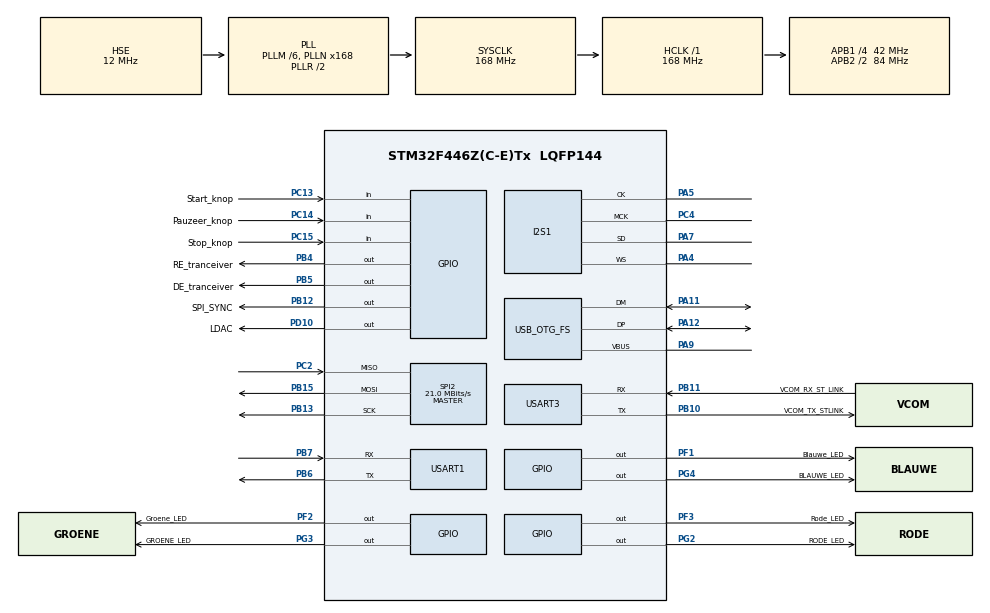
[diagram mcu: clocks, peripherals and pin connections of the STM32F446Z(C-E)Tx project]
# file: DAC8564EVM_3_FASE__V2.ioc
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I2S1.ErrorAudioFreq=1.72 %
I2S1.FullDuplexMode=I2S_FULLDUPLEXMODE_DISABLE
I2S1.Instance=SPI$Index
I2S1.RealAudioFreq=8.138 KHz
I2S1.VirtualMode=I2S_MODE_MASTER
Mcu.Family=STM32F4
Mcu.Name=STM32F446Z(C-E)Tx
Mcu.Package=LQFP144
NVIC.OTG_FS_IRQn=true\:0\:0\:false\:false\:true\:false\:true\:true
NVIC.PriorityGroup=NVIC_PRIORITYGROUP_4
NVIC.TIM2_IRQn=true\:0\:0\:false\:false\:true\:true\:true\:true
PA11.Mode=Device_Only
PA11.Signal=USB_OTG_FS_DM
PA12.Mode=Device_Only
PA12.Signal=USB_OTG_FS_DP
PA13.Mode=Serial_Wire
PA13.Signal=SYS_JTMS-SWDIO
PA14.Mode=Serial_Wire
PA14.Signal=SYS_JTCK-SWCLK
PA4.Mode=Half_Duplex_Master
PA4.Signal=I2S1_WS
PA5.Mode=Half_Duplex_Master
PA5.Signal=I2S1_CK
PA7.Mode=Half_Duplex_Master
PA7.Signal=I2S1_SD
PA9.Mode=Activate_VBUS
PA9.Signal=USB_OTG_FS_VBUS
PB10.GPIO_Label=VCOM_TX_STLINK
PB10.Mode=Asynchronous
PB10.Signal=USART3_TX
PB11.GPIO_Label=VCOM_RX_ST_LINK
PB11.Mode=Asynchronous
PB11.Signal=USART3_RX
PB12.GPIO_Label=SPI_SYNC
PB12.Signal=GPIO_Output
PB13.Mode=Full_Duplex_Master
PB13.Signal=SPI2_SCK
PB15.Mode=Full_Duplex_Master
PB15.Signal=SPI2_MOSI
PB4.GPIO_Label=RE_tranceiver
PB4.Signal=GPIO_Output
PB5.GPIO_Label=DE_tranceiver
PB5.Signal=GPIO_Output
PB6.Mode=Asynchronous
PB6.Signal=USART1_TX
PB7.Mode=Asynchronous
PB7.Signal=USART1_RX
PC13.GPIO_Label=Start_knop
PC13.GPIO_PuPd=GPIO_PULLUP
PC13.Signal=GPIO_Input
PC14-OSC32_IN.GPIO_Label=Pauzeer_knop
PC14-OSC32_IN.GPIO_PuPd=GPIO_PULLUP
PC14-OSC32_IN.Signal=GPIO_Input
PC15-OSC32_OUT.GPIO_Label=Stop_knop
PC15-OSC32_OUT.GPIO_PuPd=GPIO_PULLUP
PC15-OSC32_OUT.Signal=GPIO_Input
PC2.Mode=Full_Duplex_Master
PC2.Signal=SPI2_MISO
PC4.Mode=Master_Clock_Activated
PC4.Signal=I2S1_MCK
PD10.GPIO_Label=LDAC
PD10.Signal=GPIO_Output
PF1.GPIO_Label=Blauwe_LED
PF1.Signal=GPIO_Output
PF2.GPIO_Label=Groene_LED
PF2.Signal=GPIO_Output
PF3.GPIO_Label=Rode_LED
PF3.Signal=GPIO_Output
PG2.GPIO_Label=RODE_LED
PG2.Signal=GPIO_Output
PG3.GPIO_Label=GROENE_LED
PG3.Signal=GPIO_Output
PG4.GPIO_Label=BLAUWE_LED
PG4.Signal=GPIO_Output
PH0-OSC_IN.Mode=HSE-External-Oscillator
PH0-OSC_IN.Signal=RCC_OSC_IN
PH1-OSC_OUT.Mode=HSE-External-Oscillator
PH1-OSC_OUT.Signal=RCC_OSC_OUT
ProjectManager.HeapSize=0x200
ProjectManager.StackSize=0x400
ProjectManager.TargetToolchain=STM32CubeIDE
RCC.AHBFreq_Value=168000000
RCC.APB1CLKDivider=RCC_HCLK_DIV4
RCC.APB1Freq_Value=42000000
RCC.APB1TimFreq_Value=84000000
RCC.APB2CLKDivider=RCC_HCLK_DIV2
RCC.APB2Freq_Value=84000000
RCC.APB2TimFreq_Value=168000000
RCC.CortexFreq_Value=168000000
RCC.HCLKFreq_Value=168000000
RCC.HSE_VALUE=12000000
RCC.PLLI2SM=6
RCC.PLLI2SN=50
RCC.PLLM=6
RCC.PLLN=168
RCC.PLLQ=7
RCC.SYSCLKFreq_VALUE=168000000
RCC.SYSCLKSource=RCC_SYSCLKSOURCE_PLLRCLK
RCC.USBFreq_Value=48000000
RCC.VCOOutputFreq_Value=336000000
SPI2.BaudRatePrescaler=SPI_BAUDRATEPRESCALER_2
SPI2.CalculateBaudRate=21.0 MBits/s
SPI2.Direction=SPI_DIRECTION_2LINES
SPI2.Mode=SPI_MODE_MASTER
SPI2.VirtualType=VM_MASTER
TIM2.Period=1749
USART1.VirtualMode=VM_ASYNC
USART3.VirtualMode=VM_ASYNC
USB_DEVICE.CLASS_NAME_FS=CDC
USB_DEVICE.PRODUCT_STRING_CDC_FS=YOUNES STM32
USB_DEVICE.VirtualMode-CDC_FS=Cdc
USB_DEVICE.VirtualModeFS=Cdc_FS
USB_OTG_FS.VirtualMode=Device_Only
VP_TIM2_VS_ClockSourceINT.Mode=Internal
VP_USB_DEVICE_VS_USB_DEVICE_CDC_FS.Mode=CDC_FS
board=custom

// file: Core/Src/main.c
/* USER CODE BEGIN Header */
/**
  ******************************************************************************
  * @file           : main.c
  * @brief          : Main program body
  ******************************************************************************
  * @attention
  *
  * Copyright (c) 2024 STMicroelectronics.
  * All rights reserved.
  *
  * This software is licensed under terms that can be found in the LICENSE file
  * in the root directory of this software component.
  * If no LICENSE file comes with this software, it is provided AS-IS.
  *
  ******************************************************************************
  */
/* USER CODE END Header */
#include "main.h"
#include "usb_device.h"

/* USER CODE BEGIN Includes */
#include <math.h>
#include <stdint.h>
#include <stdlib.h>
#include <stdio.h>
#include <string.h>
#include "stm32f4xx_hal.h"
/* USER CODE END Includes */

/* USER CODE BEGIN PD */
#define SPI_TIMEOUT 1000
#define DAC8564_SEQUENTIANALY_WRITE_UPDATE 0x10
#define VREF 2.5
//#define AMPLITUDE 0.7
#define PI 3.14159265
#define SAMPLE_RATE 48000
#define FREQUENCY 50
#define NUM_SAMPLES (SAMPLE_RATE / FREQUENCY)
#define PHASE_SHIFT_120_DEG (2.0 * PI / 3.0)  // 120-degree phase shift
#define PHASE_SHIFT_240_DEG (4.0 * PI / 3.0)
/* USER CODE END PD */

I2S_HandleTypeDef hi2s1;

SPI_HandleTypeDef hspi2;

TIM_HandleTypeDef htim2;

UART_HandleTypeDef huart1;
UART_HandleTypeDef huart3;

/* USER CODE BEGIN PV */

volatile uint16_t sample_index = 0;
volatile uint32_t seconds_elapsed = 0;
volatile uint8_t dac_update_flag = 0;
volatile uint32_t sample_counter = 0;
volatile uint8_t current_scenario = 1;

float AMPLITUDE;

float HARMONIC_3, HARMONIC_5, HARMONIC_7, HARMONIC_9, HARMONIC_11, HARMONIC_13;

uint16_t sine_wave_A_scenario[6][NUM_SAMPLES];
uint16_t sine_wave_B_scenario[6][NUM_SAMPLES];
uint16_t sine_wave_C_scenario[6][NUM_SAMPLES];

uint16_t* current_sine_wave_A;
uint16_t* current_sine_wave_B;
uint16_t* current_sine_wave_C;

float stroom_s1 = 0.0;
float stroom_s2 = 0.0;
float stroom_s3 = 0.0;

// Globale variabelen voor THD scenario's
float thd_s1_rms = 0.0, thd_s2_rms = 0.0, thd_s3_rms = 0.0;
int thd_s1_3h = 0, thd_s1_5h = 0, thd_s1_7h = 0, thd_s1_9h = 0,
    thd_s1_11h = 0, thd_s1_13h = 0;

int thd_s2_3h = 0, thd_s2_5h = 0, thd_s2_7h = 0, thd_s2_9h = 0,
    thd_s2_11h = 0, thd_s2_13h = 0;

int thd_s3_3h = 0, thd_s3_5h = 0, thd_s3_7h = 0, thd_s3_9h = 0,
    thd_s3_11h = 0, thd_s3_13h = 0;
/* USER CODE END PV */

void SystemClock_Config(void);
static void MX_GPIO_Init(void);
static void MX_USART1_UART_Init(void);
static void MX_USART3_UART_Init(void);
static void MX_TIM2_Init(void);
static void MX_I2S1_Init(void);
static void MX_SPI2_Init(void);

/* USER CODE BEGIN 0 */

void calculate_three_phase_sine_wave_samples(uint16_t* wave_A, uint16_t* wave_B, uint16_t* wave_C) {
    for (int i = 0; i < NUM_SAMPLES; i++) {
        double t = (double)i / SAMPLE_RATE;

        // Phase A with harmonic distortion
        double sample_A = AMPLITUDE * sin(2 * PI * FREQUENCY * t);
        sample_A += HARMONIC_3 * AMPLITUDE * sin(2 * PI * 3 * FREQUENCY * t);
        sample_A += HARMONIC_5 * AMPLITUDE * sin(2 * PI * 5 * FREQUENCY * t);
        sample_A += HARMONIC_7 * AMPLITUDE * sin(2 * PI * 7 * FREQUENCY * t);
        sample_A += HARMONIC_9 * AMPLITUDE * sin(2 * PI * 9 * FREQUENCY * t);
        sample_A += HARMONIC_11 * AMPLITUDE * sin(2 * PI * 11 * FREQUENCY * t);
        sample_A += HARMONIC_13 * AMPLITUDE * sin(2 * PI * 13 * FREQUENCY * t);

        if (sample_A >= 2.5)
        {
        	sample_A= 2.5;
        }
        else if (sample_A <= -2.5)
		{
			sample_A= -2.5;
		}

        wave_A[i] = (uint16_t)((65536 / (2 * VREF)) * (sample_A + VREF));

        // Phase B with harmonic distortion (120 degrees shifted)

        double sample_B = AMPLITUDE * sin(2 * PI * FREQUENCY * t + PHASE_SHIFT_120_DEG);
        sample_B += HARMONIC_3 * AMPLITUDE * sin(2 * PI * 3 * FREQUENCY * t + PHASE_SHIFT_120_DEG);
        sample_B += HARMONIC_5 * AMPLITUDE * sin(2 * PI * 5 * FREQUENCY * t + PHASE_SHIFT_120_DEG);
        sample_B += HARMONIC_7 * AMPLITUDE * sin(2 * PI * 7 * FREQUENCY * t + PHASE_SHIFT_120_DEG);
        sample_B += HARMONIC_9 * AMPLITUDE * sin(2 * PI * 9 * FREQUENCY * t + PHASE_SHIFT_120_DEG);
        sample_B += HARMONIC_11 * AMPLITUDE * sin(2 * PI * 11 * FREQUENCY * t + PHASE_SHIFT_120_DEG);
        sample_B += HARMONIC_13 * AMPLITUDE * sin(2 * PI * 13 * FREQUENCY * t + PHASE_SHIFT_120_DEG);

        if (sample_B >= 2.5)
        {
        	sample_B= 2.5;
        }
        else if (sample_B <= -2.5)
		{
			sample_B= -2.5;
		}

        wave_B[i] = (uint16_t)((65536 / (2 * VREF)) * (sample_B + VREF));

        // Phase C with harmonic distortion (240 degrees shifted)
        double sample_C = AMPLITUDE * sin(2 * PI * FREQUENCY * t + PHASE_SHIFT_240_DEG);
        sample_C += HARMONIC_3 * AMPLITUDE * sin(2 * PI * 3 * FREQUENCY * t + PHASE_SHIFT_240_DEG);
        sample_C += HARMONIC_5 * AMPLITUDE * sin(2 * PI * 5 * FREQUENCY * t + PHASE_SHIFT_240_DEG);
        sample_C += HARMONIC_7 * AMPLITUDE * sin(2 * PI * 7 * FREQUENCY * t + PHASE_SHIFT_240_DEG);
        sample_C += HARMONIC_9 * AMPLITUDE * sin(2 * PI * 9 * FREQUENCY * t + PHASE_SHIFT_240_DEG);
        sample_C += HARMONIC_11 * AMPLITUDE * sin(2 * PI * 11 * FREQUENCY * t + PHASE_SHIFT_240_DEG);
        sample_C += HARMONIC_13 * AMPLITUDE * sin(2 * PI * 13 * FREQUENCY * t + PHASE_SHIFT_240_DEG);

        if (sample_C >= 2.5)
        {
        	sample_C= 2.5;
        }
        else if (sample_C <= -2.5)
		{
			sample_C= -2.5;
		}
        wave_C[i] = (uint16_t)((65536 / (2 * VREF)) * (sample_C + VREF));
    }
}

////// Function to select the test scenario and calculate its samples
void select_test_scenario(int scenario_number) {
    switch (scenario_number) {
		case 1:  // Stroom scenario 1
			AMPLITUDE = (stroom_s1 / 10000) *sqrt(2.0);
			HARMONIC_3 = 0; HARMONIC_5 = 0; HARMONIC_7 = 0; HARMONIC_9 = 0;
			HARMONIC_11 = 0; HARMONIC_13 = 0;
			calculate_three_phase_sine_wave_samples(sine_wave_A_scenario[0], sine_wave_B_scenario[0], sine_wave_C_scenario[0]);
			break;
		case 2:  // Stroom scenario 2
			AMPLITUDE = (stroom_s2 / 10000) *sqrt(2.0);
			HARMONIC_3 = 0; HARMONIC_5 = 0; HARMONIC_7 = 0; HARMONIC_9 = 0;
			HARMONIC_11 = 0; HARMONIC_13 = 0;
			calculate_three_phase_sine_wave_samples(sine_wave_A_scenario[1], sine_wave_B_scenario[1], sine_wave_C_scenario[1]);
			break;
        case 3:  // Stroom scenario 3
            AMPLITUDE = (stroom_s3 / 10000) *sqrt(2.0);
            HARMONIC_3 = 0; HARMONIC_5 = 0; HARMONIC_7 = 0; HARMONIC_9 = 0;
            HARMONIC_11 = 0; HARMONIC_13 = 0;
            calculate_three_phase_sine_wave_samples(sine_wave_A_scenario[2], sine_wave_B_scenario[2], sine_wave_C_scenario[2]);
            break;
        case 4:  // THD scenario 1
            AMPLITUDE = (thd_s1_rms / 10000) *sqrt(2.0);
            HARMONIC_3 = thd_s1_3h / 100.0;
            HARMONIC_5 = thd_s1_5h / 100.0;
            HARMONIC_7 = thd_s1_7h / 100.0;
            HARMONIC_9 = thd_s1_9h / 100.0;
            HARMONIC_11 = thd_s1_11h / 100.0;
            HARMONIC_13 = thd_s1_13h / 100.0;
            calculate_three_phase_sine_wave_samples(sine_wave_A_scenario[3], sine_wave_B_scenario[3], sine_wave_C_scenario[3]);
            break;
        case 5:  // THD scenario 2
            AMPLITUDE = (thd_s2_rms / 10000) *sqrt(2.0);
            HARMONIC_3 = thd_s2_3h / 100.0;
            HARMONIC_5 = thd_s2_5h / 100.0;
            HARMONIC_7 = thd_s2_7h / 100.0;
            HARMONIC_9 = thd_s2_9h / 100.0;
            HARMONIC_11 = thd_s2_11h / 100.0;
            HARMONIC_13 = thd_s2_13h / 100.0;
            calculate_three_phase_sine_wave_samples(sine_wave_A_scenario[4], sine_wave_B_scenario[4], sine_wave_C_scenario[4]);
            break;
        case 6:  // THD scenario 3
            AMPLITUDE = (thd_s3_rms / 10000) *sqrt(2.0);
            HARMONIC_3 = thd_s3_3h / 100.0;
            HARMONIC_5 = thd_s3_5h / 100.0;
            HARMONIC_7 = thd_s3_7h / 100.0;
            HARMONIC_9 = thd_s3_9h / 100.0;
            HARMONIC_11 = thd_s3_11h / 100.0;
            HARMONIC_13 = thd_s3_13h / 100.0;
            calculate_three_phase_sine_wave_samples(sine_wave_A_scenario[5], sine_wave_B_scenario[5], sine_wave_C_scenario[5]);
            break;
    }
}

void DAC8564_Write(uint16_t channel, uint16_t value) {
    uint8_t data[3];
    data[0] = DAC8564_SEQUENTIANALY_WRITE_UPDATE | (channel << 1);  // Set command and channel
    data[1] = (value >> 8) & 0xFF;  // MSB
    data[2] = value & 0xFF;  // LSB

    HAL_GPIO_WritePin(GPIOB, SPI_SYNC_Pin, GPIO_PIN_RESET);  // CS Low
    HAL_SPI_Transmit(&hspi2, data, 3, SPI_TIMEOUT);
    HAL_GPIO_WritePin(GPIOB, SPI_SYNC_Pin, GPIO_PIN_SET);  // CS High
}

void HAL_TIM_PeriodElapsedCallback(TIM_HandleTypeDef *htim) {
    if (htim->Instance == TIM2) {
    	sample_counter++;
    	if (sample_counter== 48000) {
    	        seconds_elapsed++;
                sample_counter=0;
    	        // Wissel scenario na 120 seconden
    	        if (seconds_elapsed >=20) {
    	            seconds_elapsed = 0;

//    	             Ga door naar het volgende scenario
    	            current_scenario++;
    	            if (current_scenario > 6) {
    	                current_scenario = 6;

    	            }else {

    					// Wissel de actieve buffers naar de nieuwe berekende golfvormen
    					current_sine_wave_A = sine_wave_A_scenario[current_scenario - 1];
    					current_sine_wave_B = sine_wave_B_scenario[current_scenario - 1];
    					current_sine_wave_C = sine_wave_C_scenario[current_scenario - 1];
    					sample_index =0;
    	            }

    	        }

    	}

        DAC8564_Write(3, current_sine_wave_A[sample_index]);  // Phase A on DAC A
        DAC8564_Write(1, current_sine_wave_B[sample_index]);  // Phase B on DAC B
        DAC8564_Write(2, current_sine_wave_C[sample_index]);  // Phase C on DAC C

        // Verhoog de sample index
        sample_index = (sample_index + 1) % NUM_SAMPLES;

        // Verhoog de sample index

    }
}

void SET_refference() {
    uint8_t data[3];
    data[0] = 0x01;
    data[1] = 0x10;
    data[2] = 0x00;

    HAL_GPIO_WritePin(GPIOB, SPI_SYNC_Pin, GPIO_PIN_RESET);
    HAL_SPI_Transmit(&hspi2, data, 3, SPI_TIMEOUT);
    HAL_GPIO_WritePin(GPIOB, SPI_SYNC_Pin, GPIO_PIN_SET);
}
/* USER CODE END 0 */

int main(void)
{

  /* MCU Configuration--------------------------------------------------------*/

  /* Reset of all peripherals, Initializes the Flash interface and the Systick. */
  HAL_Init();

  /* Configure the system clock */
  SystemClock_Config();

  /* Initialize all configured peripherals */
  MX_GPIO_Init();
  MX_USART1_UART_Init();
  MX_USART3_UART_Init();
  MX_USB_DEVICE_Init();
  MX_TIM2_Init();
  MX_I2S1_Init();
  MX_SPI2_Init();
  /* USER CODE BEGIN 2 */
//  stroom_s1 = 10000.0;
//  stroom_s2 = 7500.0;
//  stroom_s3 = 5000.0;
//
// // Globale variabelen voor THD scenario's
// thd_s1_rms = 4000.0, thd_s2_rms =3000.0, thd_s3_rms =2000.0;
//
// for (int i = 1; i <= 6; i++) {
//     select_test_scenario(i);
// }
  stroom_s1 = 400;
  stroom_s2 = 5.0;
  stroom_s3 = 5.0;

 // Globale variabelen voor THD scenario's
 thd_s1_rms = 5.0, thd_s2_rms =5.0, thd_s3_rms =5.0;

 for (int i = 1; i <= 6; i++) {
     select_test_scenario(i);
 }
 // Zet het eerste scenario klaar

 current_sine_wave_A = sine_wave_A_scenario[0];
 current_sine_wave_B = sine_wave_B_scenario[0];
 current_sine_wave_C = sine_wave_C_scenario[0];
 current_scenario = 1;

  HAL_Delay(150);
  HAL_GPIO_WritePin(GPIOB, SPI_SYNC_Pin, GPIO_PIN_SET);
  HAL_Delay(10);
  SET_refference();

  // Calculate samples for three-phase sine waves

  if (HAL_TIM_Base_Start_IT(&htim2) != HAL_OK) {
      Error_Handler();
  }

  /* USER CODE END 2 */

  /* Infinite loop */
  while (1)
  {

  }
}

void SystemClock_Config(void)
{
  RCC_OscInitTypeDef RCC_OscInitStruct = {0};
  RCC_ClkInitTypeDef RCC_ClkInitStruct = {0};

  /** Configure the main internal regulator output voltage
  */
  __HAL_RCC_PWR_CLK_ENABLE();
  __HAL_PWR_VOLTAGESCALING_CONFIG(PWR_REGULATOR_VOLTAGE_SCALE1);

  /** Initializes the RCC Oscillators according to the specified parameters
  * in the RCC_OscInitTypeDef structure.
  */
  RCC_OscInitStruct.OscillatorType = RCC_OSCILLATORTYPE_HSE;
  RCC_OscInitStruct.HSEState = RCC_HSE_ON;
  RCC_OscInitStruct.PLL.PLLState = RCC_PLL_ON;
  RCC_OscInitStruct.PLL.PLLSource = RCC_PLLSOURCE_HSE;
  RCC_OscInitStruct.PLL.PLLM = 6;
  RCC_OscInitStruct.PLL.PLLN = 168;
  RCC_OscInitStruct.PLL.PLLP = RCC_PLLP_DIV2;
  RCC_OscInitStruct.PLL.PLLQ = 7;
  RCC_OscInitStruct.PLL.PLLR = 2;
  if (HAL_RCC_OscConfig(&RCC_OscInitStruct) != HAL_OK)
  {
    Error_Handler();
  }

  /** Initializes the CPU, AHB and APB buses clocks
  */
  RCC_ClkInitStruct.ClockType = RCC_CLOCKTYPE_HCLK|RCC_CLOCKTYPE_SYSCLK
                              |RCC_CLOCKTYPE_PCLK1|RCC_CLOCKTYPE_PCLK2;
  RCC_ClkInitStruct.SYSCLKSource = RCC_SYSCLKSOURCE_PLLRCLK;
  RCC_ClkInitStruct.AHBCLKDivider = RCC_SYSCLK_DIV1;
  RCC_ClkInitStruct.APB1CLKDivider = RCC_HCLK_DIV4;
  RCC_ClkInitStruct.APB2CLKDivider = RCC_HCLK_DIV2;

  if (HAL_RCC_ClockConfig(&RCC_ClkInitStruct, FLASH_LATENCY_5) != HAL_OK)
  {
    Error_Handler();
  }
}

static void MX_I2S1_Init(void)
{

  hi2s1.Instance = SPI1;
  hi2s1.Init.Mode = I2S_MODE_MASTER_TX;
  hi2s1.Init.Standard = I2S_STANDARD_PHILIPS;
  hi2s1.Init.DataFormat = I2S_DATAFORMAT_16B;
  hi2s1.Init.MCLKOutput = I2S_MCLKOUTPUT_ENABLE;
  hi2s1.Init.AudioFreq = I2S_AUDIOFREQ_8K;
  hi2s1.Init.CPOL = I2S_CPOL_LOW;
  hi2s1.Init.ClockSource = I2S_CLOCK_PLL;
  hi2s1.Init.FullDuplexMode = I2S_FULLDUPLEXMODE_DISABLE;
  if (HAL_I2S_Init(&hi2s1) != HAL_OK)
  {
    Error_Handler();
  }

}

static void MX_SPI2_Init(void)
{

  /* SPI2 parameter configuration*/
  hspi2.Instance = SPI2;
  hspi2.Init.Mode = SPI_MODE_MASTER;
  hspi2.Init.Direction = SPI_DIRECTION_2LINES;
  hspi2.Init.DataSize = SPI_DATASIZE_8BIT;
  hspi2.Init.CLKPolarity = SPI_POLARITY_LOW;
  hspi2.Init.CLKPhase = SPI_PHASE_1EDGE;
  hspi2.Init.NSS = SPI_NSS_SOFT;
  hspi2.Init.BaudRatePrescaler = SPI_BAUDRATEPRESCALER_2;
  hspi2.Init.FirstBit = SPI_FIRSTBIT_MSB;
  hspi2.Init.TIMode = SPI_TIMODE_DISABLE;
  hspi2.Init.CRCCalculation = SPI_CRCCALCULATION_DISABLE;
  hspi2.Init.CRCPolynomial = 10;
  if (HAL_SPI_Init(&hspi2) != HAL_OK)
  {
    Error_Handler();
  }

}

static void MX_TIM2_Init(void)
{

  TIM_ClockConfigTypeDef sClockSourceConfig = {0};
  TIM_MasterConfigTypeDef sMasterConfig = {0};

  htim2.Instance = TIM2;
  htim2.Init.Prescaler = 0;
  htim2.Init.CounterMode = TIM_COUNTERMODE_UP;
  htim2.Init.Period = 1749;
  htim2.Init.ClockDivision = TIM_CLOCKDIVISION_DIV1;
  htim2.Init.AutoReloadPreload = TIM_AUTORELOAD_PRELOAD_DISABLE;
  if (HAL_TIM_Base_Init(&htim2) != HAL_OK)
  {
    Error_Handler();
  }
  sClockSourceConfig.ClockSource = TIM_CLOCKSOURCE_INTERNAL;
  if (HAL_TIM_ConfigClockSource(&htim2, &sClockSourceConfig) != HAL_OK)
  {
    Error_Handler();
  }
  sMasterConfig.MasterOutputTrigger = TIM_TRGO_RESET;
  sMasterConfig.MasterSlaveMode = TIM_MASTERSLAVEMODE_DISABLE;
  if (HAL_TIMEx_MasterConfigSynchronization(&htim2, &sMasterConfig) != HAL_OK)
  {
    Error_Handler();
  }

}

static void MX_USART1_UART_Init(void)
{

  huart1.Instance = USART1;
  huart1.Init.BaudRate = 115200;
  huart1.Init.WordLength = UART_WORDLENGTH_8B;
  huart1.Init.StopBits = UART_STOPBITS_1;
  huart1.Init.Parity = UART_PARITY_NONE;
  huart1.Init.Mode = UART_MODE_TX_RX;
  huart1.Init.HwFlowCtl = UART_HWCONTROL_NONE;
  huart1.Init.OverSampling = UART_OVERSAMPLING_16;
  if (HAL_UART_Init(&huart1) != HAL_OK)
  {
    Error_Handler();
  }

}

static void MX_USART3_UART_Init(void)
{

  huart3.Instance = USART3;
  huart3.Init.BaudRate = 115200;
  huart3.Init.WordLength = UART_WORDLENGTH_8B;
  huart3.Init.StopBits = UART_STOPBITS_1;
  huart3.Init.Parity = UART_PARITY_NONE;
  huart3.Init.Mode = UART_MODE_TX_RX;
  huart3.Init.HwFlowCtl = UART_HWCONTROL_NONE;
  huart3.Init.OverSampling = UART_OVERSAMPLING_16;
  if (HAL_UART_Init(&huart3) != HAL_OK)
  {
    Error_Handler();
  }

}

static void MX_GPIO_Init(void)
{
  GPIO_InitTypeDef GPIO_InitStruct = {0};

  /* GPIO Ports Clock Enable */
  __HAL_RCC_GPIOC_CLK_ENABLE();
  __HAL_RCC_GPIOF_CLK_ENABLE();
  __HAL_RCC_GPIOH_CLK_ENABLE();
  __HAL_RCC_GPIOA_CLK_ENABLE();
  __HAL_RCC_GPIOB_CLK_ENABLE();
  __HAL_RCC_GPIOD_CLK_ENABLE();
  __HAL_RCC_GPIOG_CLK_ENABLE();

  /*Configure GPIO pin Output Level */
  HAL_GPIO_WritePin(GPIOF, Blauwe_LED_Pin|Groene_LED_Pin|Rode_LED_Pin, GPIO_PIN_RESET);

  /*Configure GPIO pin Output Level */
  HAL_GPIO_WritePin(GPIOB, SPI_SYNC_Pin|RE_tranceiver_Pin|DE_tranceiver_Pin, GPIO_PIN_RESET);

  /*Configure GPIO pin Output Level */
  HAL_GPIO_WritePin(LDAC_GPIO_Port, LDAC_Pin, GPIO_PIN_RESET);

  /*Configure GPIO pin Output Level */
  HAL_GPIO_WritePin(GPIOG, RODE_LED_Pin|GROENE_LED_Pin|BLAUWE_LED_Pin, GPIO_PIN_RESET);

  /*Configure GPIO pins : Start_knop_Pin Pauzeer_knop_Pin Stop_knop_Pin */
  GPIO_InitStruct.Pin = Start_knop_Pin|Pauzeer_knop_Pin|Stop_knop_Pin;
  GPIO_InitStruct.Mode = GPIO_MODE_INPUT;
  GPIO_InitStruct.Pull = GPIO_PULLUP;
  HAL_GPIO_Init(GPIOC, &GPIO_InitStruct);

  /*Configure GPIO pins : Blauwe_LED_Pin Groene_LED_Pin Rode_LED_Pin */
  GPIO_InitStruct.Pin = Blauwe_LED_Pin|Groene_LED_Pin|Rode_LED_Pin;
  GPIO_InitStruct.Mode = GPIO_MODE_OUTPUT_PP;
  GPIO_InitStruct.Pull = GPIO_NOPULL;
  GPIO_InitStruct.Speed = GPIO_SPEED_FREQ_LOW;
  HAL_GPIO_Init(GPIOF, &GPIO_InitStruct);

  /*Configure GPIO pins : SPI_SYNC_Pin RE_tranceiver_Pin DE_tranceiver_Pin */
  GPIO_InitStruct.Pin = SPI_SYNC_Pin|RE_tranceiver_Pin|DE_tranceiver_Pin;
  GPIO_InitStruct.Mode = GPIO_MODE_OUTPUT_PP;
  GPIO_InitStruct.Pull = GPIO_NOPULL;
  GPIO_InitStruct.Speed = GPIO_SPEED_FREQ_LOW;
  HAL_GPIO_Init(GPIOB, &GPIO_InitStruct);

  /*Configure GPIO pin : LDAC_Pin */
  GPIO_InitStruct.Pin = LDAC_Pin;
  GPIO_InitStruct.Mode = GPIO_MODE_OUTPUT_PP;
  GPIO_InitStruct.Pull = GPIO_NOPULL;
  GPIO_InitStruct.Speed = GPIO_SPEED_FREQ_LOW;
  HAL_GPIO_Init(LDAC_GPIO_Port, &GPIO_InitStruct);

  /*Configure GPIO pins : RODE_LED_Pin GROENE_LED_Pin BLAUWE_LED_Pin */
  GPIO_InitStruct.Pin = RODE_LED_Pin|GROENE_LED_Pin|BLAUWE_LED_Pin;
  GPIO_InitStruct.Mode = GPIO_MODE_OUTPUT_PP;
  GPIO_InitStruct.Pull = GPIO_NOPULL;
  GPIO_InitStruct.Speed = GPIO_SPEED_FREQ_LOW;
  HAL_GPIO_Init(GPIOG, &GPIO_InitStruct);

}

void Error_Handler(void)
{
  __disable_irq();
  while (1)
  {
  }
}
